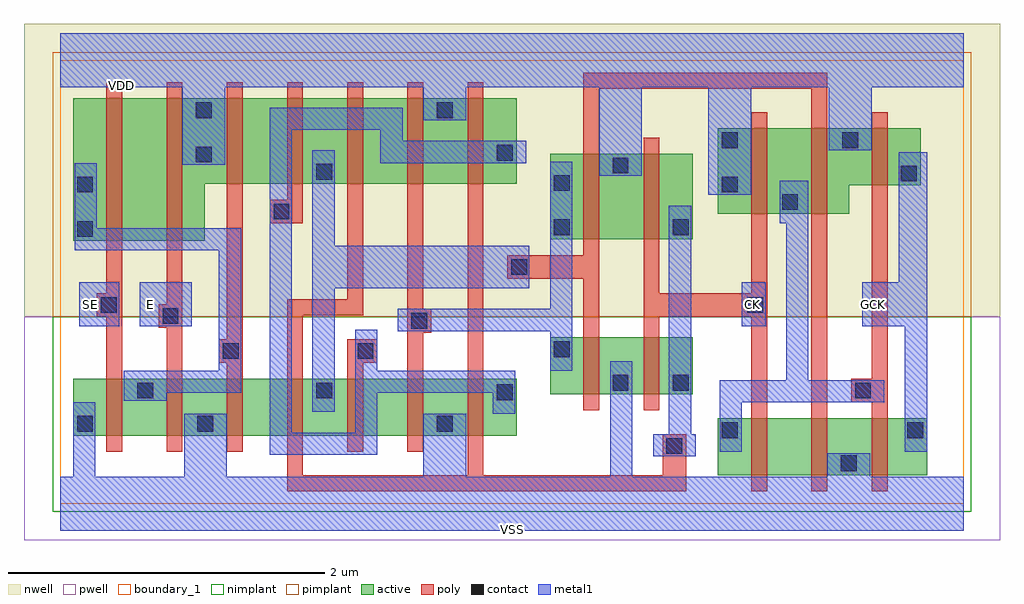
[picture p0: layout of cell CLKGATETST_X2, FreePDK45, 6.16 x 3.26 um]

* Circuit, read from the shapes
.subckt CLKGATETST_X2 CK E GCK SE VDD VSS
M1 n1 SE VSS VSUBS nfet w=0.36u l=0.1u
M2 VSS E n1 VSUBS nfet w=0.36u l=0.1u
M3 n2 n1 VSS VSUBS nfet w=0.36u l=0.1u
M4 n3 n4 n2 VSUBS nfet w=0.36u l=0.1u
M5 n5 n6 n3 VSUBS nfet w=0.36u l=0.1u
M6 VSS n7 n5 VSUBS nfet w=0.36u l=0.1u
M7 n6 n4 VSS VSUBS nfet w=0.36u l=0.1u
M8 VSS n3 n7 VSUBS nfet w=0.36u l=0.1u
M9 n4 CK VSS VSUBS nfet w=0.36u l=0.1u
M10 n8 CK n9 VSUBS nfet w=0.36u l=0.1u
M11 VSS n3 n8 VSUBS nfet w=0.36u l=0.1u
M12 GCK n9 VSS VSUBS nfet w=0.36u l=0.1u
M13 n10 SE n1 n11 pfet w=0.9u l=0.1u
M14 VDD E n10 n11 pfet w=0.9u l=0.1u
M15 n12 n1 VDD n11 pfet w=0.54u l=0.1u
M16 n3 n6 n12 n11 pfet w=0.54u l=0.1u
M17 n13 n4 n3 n11 pfet w=0.54u l=0.1u
M18 VDD n7 n13 n11 pfet w=0.54u l=0.1u
M19 n6 n4 VDD n11 pfet w=0.54u l=0.1u
M20 VDD n3 n7 n11 pfet w=0.54u l=0.1u
M21 n4 CK VDD n11 pfet w=0.54u l=0.1u
M22 n9 CK VDD n11 pfet w=0.54u l=0.1u
M23 VDD n3 n9 n11 pfet w=0.54u l=0.1u
M24 GCK n9 VDD n11 pfet w=0.36u l=0.1u
.ends

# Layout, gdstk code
import gdstk
lib = gdstk.Library(unit=1e-6, precision=1e-09)
def R(c, l, rs):  # rectangles x0, y0, x1, y1
    for r in rs: c.add(gdstk.rectangle(r[:2], r[2:], *l))
def P(c, l, *ps):  # polygons
    for p in ps: c.add(gdstk.Polygon(p, *l))
active = (1, 0)
pwell = (2, 0)
nwell = (3, 0)
nimplant = (4, 0)
pimplant = (5, 0)
poly = (9, 0)
contact = (10, 0)
metal1 = (11, 0)
boundary_1 = (235, 1)

clkgatetst_x2 = lib.new_cell('CLKGATETST_X2')
R(clkgatetst_x2, active, [(4.15,0.18,5.47,0.54), (0.08,0.43,2.88,0.79), (3.09,0.69,3.99,1.05), (3.09,1.67,3.99,2.21)])
P(clkgatetst_x2, active, [(4.15,1.83),(4.98,1.83),(4.98,2.01),(5.43,2.01),(5.43,2.37),(4.15,2.37)],
  [(0.08,1.66),(0.91,1.66),(0.91,2.02),(2.88,2.02),(2.88,2.56),(0.08,2.56)])
R(clkgatetst_x2, pwell, [(-0.23,-0.23,5.93,1.18)])
R(clkgatetst_x2, nwell, [(-0.23,1.18,5.93,3.03)])
R(clkgatetst_x2, nimplant, [(-0.05,-0.05,5.75,1.18)])
R(clkgatetst_x2, pimplant, [(-0.05,1.18,5.75,2.85)])
P(clkgatetst_x2, poly, [(4.99,0.64),(5.12,0.64),(5.12,0.08),(5.22,0.08),(5.22,2.47),(5.12,2.47),(5.12,0.79),(4.99,0.79)],
  [(2.82,1.42),(3.3,1.42),(3.3,0.59),(3.4,0.59),(3.4,2.62),(4.74,2.62),(4.74,0.08),(4.84,0.08),(4.84,2.72),(3.3,2.72),(3.3,1.57),(2.82,1.57)],
  [(3.68,0.59),(3.78,0.59),(3.78,1.18),(4.36,1.18),(4.36,0.08),(4.46,0.08),(4.46,2.47),(4.36,2.47),(4.36,1.33),(3.78,1.33),(3.78,2.31),(3.68,2.31)],
  [(1.43,0.08),(3.95,0.08),(3.95,0.44),(3.8,0.44),(3.8,0.18),(2.67,0.18),(2.67,2.66),(2.57,2.66),(2.57,0.18),(1.53,0.18),(1.53,1.19),(1.91,1.19),(1.91,2.66),(1.81,2.66),(1.81,1.29),(1.43,1.29)],
  [(2.19,0.33),(2.29,0.33),(2.29,1.08),(2.34,1.08),(2.34,1.23),(2.29,1.23),(2.29,2.66),(2.19,2.66)],
  [(1.81,0.33),(1.91,0.33),(1.91,0.89),(2,0.89),(2,1.04),(1.81,1.04)],
  [(1.32,1.77),(1.53,1.77),(1.53,2.66),(1.43,2.66),(1.43,1.92),(1.32,1.92)],
  [(1,0.89),(1.05,0.89),(1.05,0.33),(1.15,0.33),(1.15,2.66),(1.05,2.66),(1.05,1.04),(1,1.04)],
  [(0.62,1.11),(0.67,1.11),(0.67,0.33),(0.77,0.33),(0.77,2.66),(0.67,2.66),(0.67,1.26),(0.62,1.26)],
  [(0.23,1.18),(0.29,1.18),(0.29,0.33),(0.39,0.33),(0.39,2.66),(0.29,2.66),(0.29,1.33),(0.23,1.33)])
R(clkgatetst_x2, contact, [(4.925,0.205,5.025,0.305), (3.825,0.315,3.925,0.415), (4.175,0.415,4.275,0.515), (5.345,0.415,5.445,0.515), (0.105,0.455,0.205,0.555), (0.865,0.455,0.965,0.555), (2.375,0.455,2.475,0.555), (2.755,0.655,2.855,0.755), (0.485,0.665,0.585,0.765), (1.615,0.665,1.715,0.765), (5.015,0.665,5.115,0.765), (3.485,0.715,3.585,0.815), (3.865,0.715,3.965,0.815), (1.025,0.915,1.125,1.015), (1.875,0.915,1.975,1.015), (3.115,0.925,3.215,1.025), (2.215,1.105,2.315,1.205), (0.645,1.135,0.745,1.235), (0.255,1.205,0.355,1.305), (4.335,1.205,4.435,1.305), (2.845,1.445,2.945,1.545), (0.105,1.685,0.205,1.785), (3.115,1.695,3.215,1.795), (3.865,1.695,3.965,1.795), (1.345,1.795,1.445,1.895), (4.555,1.855,4.655,1.955), (0.105,1.965,0.205,2.065), (4.175,1.965,4.275,2.065), (3.115,1.975,3.215,2.075), (5.305,2.035,5.405,2.135), (1.615,2.045,1.715,2.145), (3.485,2.085,3.585,2.185), (0.855,2.155,0.955,2.255), (2.755,2.165,2.855,2.265), (4.175,2.245,4.275,2.345), (4.935,2.245,5.035,2.345), (0.855,2.435,0.955,2.535), (2.375,2.435,2.475,2.535)])
R(clkgatetst_x2, metal1, [(0.12,1.12,0.37,1.4), (0.12,1.12,0.37,1.4), (0.5,1.12,0.83,1.4), (0.5,1.12,0.83,1.4), (4.3,1.12,4.45,1.4), (4.3,1.12,4.45,1.4)])
P(clkgatetst_x2, metal1, [(5.06,1.12),(5.33,1.12),(5.33,0.33),(5.47,0.33),(5.47,2.22),(5.29,2.22),(5.29,1.4),(5.06,1.4)],
  [(0,-0.17),(5.7,-0.17),(5.7,0.17),(5.11,0.17),(5.11,0.32),(4.84,0.32),(4.84,0.17),(3.61,0.17),(3.61,0.9),(3.47,0.9),(3.47,0.17),(2.56,0.17),(2.56,0.57),(2.29,0.57),(2.29,0.17),(1.05,0.17),(1.05,0.57),(0.78,0.57),(0.78,0.17),(0.22,0.17),(0.22,0.64),(0.08,0.64),(0.08,0.17),(0,0.17)],
  [(0,2.63),(0.77,2.63),(0.77,2.14),(1.04,2.14),(1.04,2.63),(2.29,2.63),(2.29,2.42),(2.56,2.42),(2.56,2.63),(3.4,2.63),(3.4,2.07),(3.67,2.07),(3.67,2.63),(4.09,2.63),(4.09,1.95),(4.36,1.95),(4.36,2.63),(4.85,2.63),(4.85,2.23),(5.12,2.23),(5.12,2.63),(5.7,2.63),(5.7,2.97),(0,2.97)],
  [(0,2.63),(0.77,2.63),(0.77,2.14),(1.04,2.14),(1.04,2.63),(2.29,2.63),(2.29,2.42),(2.56,2.42),(2.56,2.63),(3.4,2.63),(3.4,2.07),(3.67,2.07),(3.67,2.63),(4.09,2.63),(4.09,1.95),(4.36,1.95),(4.36,2.63),(4.85,2.63),(4.85,2.23),(5.12,2.23),(5.12,2.63),(5.7,2.63),(5.7,2.97),(0,2.97)],
  [(0,-0.17),(5.7,-0.17),(5.7,0.17),(5.11,0.17),(5.11,0.32),(4.84,0.32),(4.84,0.17),(3.61,0.17),(3.61,0.9),(3.47,0.9),(3.47,0.17),(2.56,0.17),(2.56,0.57),(2.29,0.57),(2.29,0.17),(1.05,0.17),(1.05,0.57),(0.78,0.57),(0.78,0.17),(0.22,0.17),(0.22,0.64),(0.08,0.64),(0.08,0.17),(0,0.17)],
  [(5.06,1.12),(5.33,1.12),(5.33,0.33),(5.47,0.33),(5.47,2.22),(5.29,2.22),(5.29,1.4),(5.06,1.4)],
  [(4.54,1.77),(4.58,1.77),(4.58,0.78),(4.16,0.78),(4.16,0.33),(4.3,0.33),(4.3,0.64),(5.2,0.64),(5.2,0.78),(4.72,0.78),(4.72,2.04),(4.54,2.04)],
  [(3.74,0.3),(4.01,0.3),(4.01,0.44),(3.98,0.44),(3.98,1.88),(3.84,1.88),(3.84,0.44),(3.74,0.44)],
  [(2.13,1.09),(3.09,1.09),(3.09,0.84),(3.23,0.84),(3.23,2.16),(3.09,2.16),(3.09,1.23),(2.13,1.23)],
  [(1.59,0.58),(1.73,0.58),(1.73,1.36),(2.96,1.36),(2.96,1.63),(1.73,1.63),(1.73,2.23),(1.59,2.23)],
  [(1.46,2.36),(2.02,2.36),(2.02,2.15),(2.94,2.15),(2.94,2.29),(2.16,2.29),(2.16,2.5),(1.32,2.5),(1.32,0.31),(2,0.31),(2,0.7),(2.73,0.7),(2.73,0.57),(2.87,0.57),(2.87,0.84),(2,0.84),(2,1.1),(1.86,1.1),(1.86,0.45),(1.46,0.45)],
  [(0.09,1.6),(1,1.6),(1,0.84),(0.4,0.84),(0.4,0.65),(0.67,0.65),(0.67,0.7),(1.14,0.7),(1.14,1.74),(0.23,1.74),(0.23,2.15),(0.09,2.15)])
R(clkgatetst_x2, boundary_1, [(0,0,5.7,2.8)])
clkgatetst_x2.add(gdstk.Label('VSS', (2.85,-0.16), layer=11, texttype=0))
clkgatetst_x2.add(gdstk.Label('VDD', (0.385,2.64), layer=11, texttype=0))
clkgatetst_x2.add(gdstk.Label('SE', (0.19,1.26), layer=11, texttype=0))
clkgatetst_x2.add(gdstk.Label('GCK', (5.13,1.26), layer=11, texttype=0))
clkgatetst_x2.add(gdstk.Label('E', (0.57,1.26), layer=11, texttype=0))
clkgatetst_x2.add(gdstk.Label('CK', (4.37,1.26), layer=11, texttype=0))

lib.write_gds('CLKGATETST_X2.gds')
